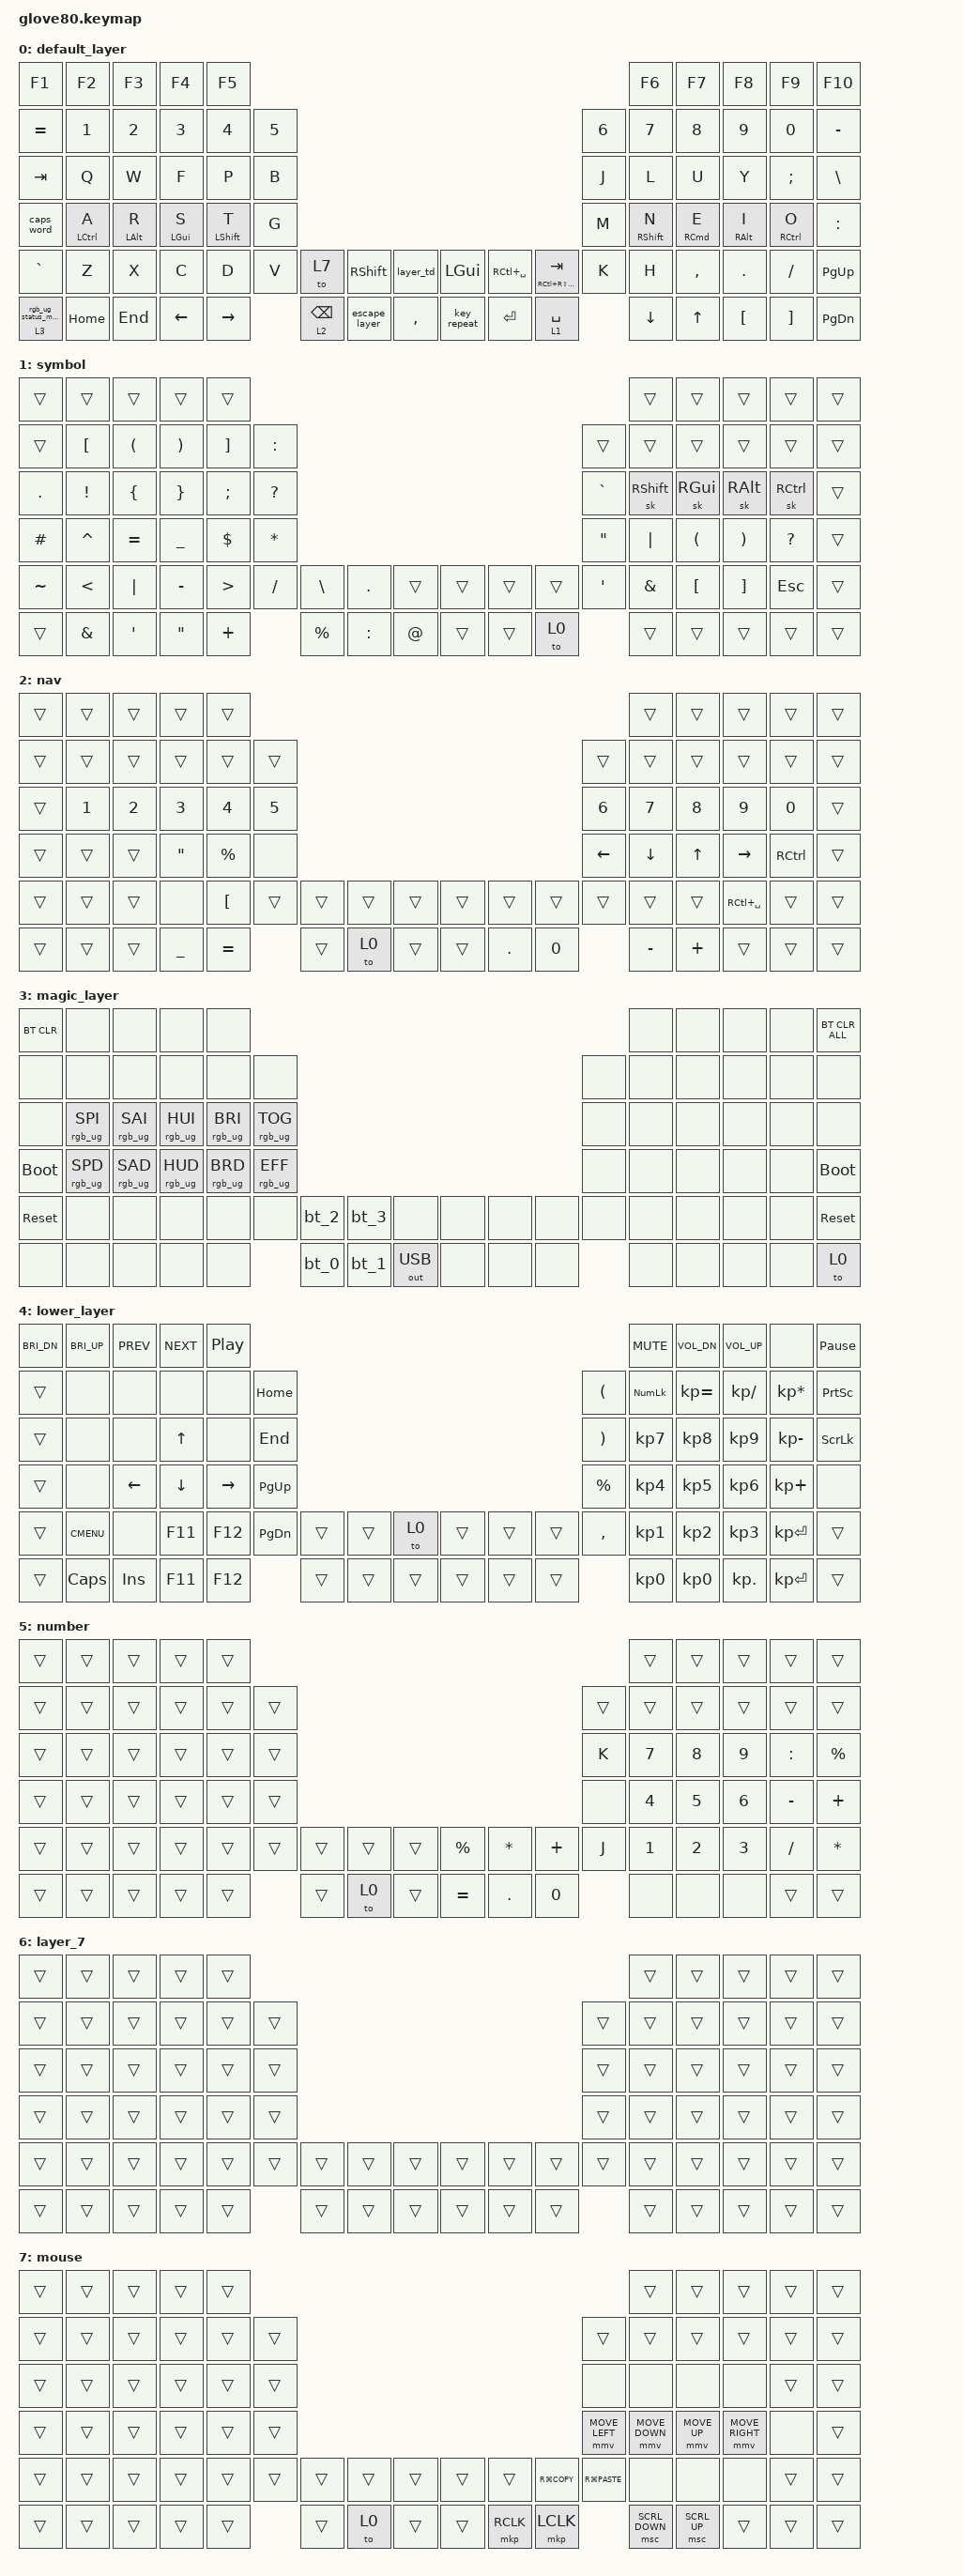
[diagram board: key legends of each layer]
/*
 * Copyright (c) 2020 The ZMK Contributors
 *
 * SPDX-License-Identifier: MIT
 */

#include <behaviors.dtsi>
#include <dt-bindings/zmk/bt.h>
#include <dt-bindings/zmk/keys.h>
#include <dt-bindings/zmk/outputs.h>
#include <dt-bindings/zmk/pointing.h>
#include <dt-bindings/zmk/rgb.h>

#define ZMK_POINTING_DEFAULT_MOVE_VAL 1500
#define ZMK_POINTING_DEFAULT_SCRL_VAL 20
#define HYPER LC(LS(LG(LALT)))

// layers

#define DEFAULT 0
#define LOWER 1
#define MAGIC 2
#define FACTORY_TEST 3

/ {
    behaviors {
        // For the "layer" key, it'd nice to be able to use it as either a shift or a toggle.
        // Configure it as a tap dance, so the first tap (or hold) is a &mo and the second tap is a &to

        layer_td: tap_dance_0 {
            compatible = "zmk,behavior-tap-dance";
            label = "LAYER_TAP_DANCE";
            #binding-cells = <0>;
            tapping-term-ms = <200>;
            bindings = <&mo 4>, <&to 4>;
        };

        magic: magic_hold_tap {
            compatible = "zmk,behavior-hold-tap";
            label = "MAGIC_HOLD_TAP";
            #binding-cells = <2>;
            flavor = "tap-preferred";
            tapping-term-ms = <200>;
            bindings = <&mo>, <&rgb_ug_status_macro>;
        };

        hrm_l: hrm_l {
            compatible = "zmk,behavior-hold-tap";
            label = "HRM_L";
            bindings = <&kp>, <&kp>;

            #binding-cells = <2>;
            tapping-term-ms = <200>;
            quick-tap-ms = <175>;
            flavor = "tap-preferred";
            hold-trigger-on-release;
            hold-trigger-key-positions = <53 52 69 71 70 54 55 56 57 74 73 72 5 6 7 8 9 16 17 18 19 20 21 28 29 30 31 32 33 40 41 42 43 44 45 58 59 60 61 62 63 75 76 77 78 79>;
        };

        hrm_r: hrm_r {
            compatible = "zmk,behavior-hold-tap";
            label = "HRM_R";
            bindings = <&kp>, <&kp>;

            #binding-cells = <2>;
            tapping-term-ms = <200>;
            quick-tap-ms = <175>;
            flavor = "tap-preferred";
            hold-trigger-on-release;
            hold-trigger-key-positions = <52 53 68 69 70 71 54 46 47 64 65 66 67 68 0 1 2 3 4 10 11 12 13 14 15 22 23 24 25 26 27 34 35 36 37 38 39 46 47 48 49 50 51 64 65 66 67 68 69>;
        };

        escape_layer: escape_layer {
            compatible = "zmk,behavior-tap-dance";
            label = "ESCAPE_LAYER";
            #binding-cells = <0>;
            bindings = <&kp ESCAPE>, <&tog 5>;

            tapping-term-ms = <200>;
        };
    };

    macros {
        rgb_ug_status_macro: rgb_ug_status_macro_0 {
            label = "RGB_UG_STATUS";
            compatible = "zmk,behavior-macro";
            #binding-cells = <0>;
            bindings = <&rgb_ug RGB_STATUS>;
        };

        bt_0: bt_profile_macro_0 {
            label = "BT_0";
            compatible = "zmk,behavior-macro";
            #binding-cells = <0>;
            bindings = <&out OUT_BLE &bt BT_SEL 0>;
        };

        bt_1: bt_profile_macro_1 {
            label = "BT_1";
            compatible = "zmk,behavior-macro";
            #binding-cells = <0>;
            bindings = <&out OUT_BLE &bt BT_SEL 1>;
        };

        bt_2: bt_profile_macro_2 {
            label = "BT_2";
            compatible = "zmk,behavior-macro";
            #binding-cells = <0>;
            bindings = <&out OUT_BLE &bt BT_SEL 2>;
        };

        bt_3: bt_profile_macro_3 {
            label = "BT_3";
            compatible = "zmk,behavior-macro";
            #binding-cells = <0>;
            bindings = <&out OUT_BLE &bt BT_SEL 3>;
        };

        hyper: hyper {
            compatible = "zmk,behavior-macro";
            #binding-cells = <0>;
            bindings = <&kp RC(RS(RA(RGUI)))>;
            label = "HYPER";
        };
    };

    combos {
        compatible = "zmk,combos";

        l_bracket {
            bindings = <&kp LEFT_BRACKET>;
            key-positions = <29 30>;
        };

        r_bracket {
            bindings = <&kp RIGHT_BRACKET>;
            key-positions = <30 31>;
        };
    };

    keymap {
        compatible = "zmk,keymap";

        default_layer {
            // ---------------------------------------------------------------------------------------------------------------------------------
            // |  F1   |  F2 |  F3 |  F4  |  F5  |                                                               |  F6   |  F7   |  F8  |   F9  |  F10 |
            // |  =    |  1  |  2  |  3   |  4   |  5   |                                                 |  6   |   7   |   8   |  9   |   0   |   -  |
            // |  TAB  |  Q  |  W  |  E   |  R   |  T   |                                                 |  Y   |   U   |   I   |  O   |   P   |   \  |
            // |  ESC  |  A  |  S  |  D   |  F   |  G   |                                                 |  H   |   J   |   K   |  L   |   ;   |   '  |
            // |   `   |  Z  |  X  |  C   |  V   |  B   | LSHFT | LCTRL | LOWER | | LGUI  | RCTRL | RSHFT |  N   |   M   |   ,   |  .   |   /   | PGUP |
            // | MAGIC | HOME| END | LEFT | RIGHT|      | BSPC  | DEL   | LALT  | | RALT  | RET   | SPACE |      |  UP   | DOWN  |  [   |   ]   | PGDN |

            bindings = <
&kp F1      &kp F2          &kp F3         &kp F4         &kp F5                                                                                                                                &kp F6           &kp F7         &kp F8         &kp F9          &kp F10
&kp EQUAL   &kp N1          &kp N2         &kp N3         &kp N4          &kp N5                                                                                                        &kp N6  &kp N7           &kp N8         &kp N9         &kp N0          &kp MINUS
&kp TAB     &kp Q           &kp W          &kp F          &kp P           &kp B                                                                                                         &kp J   &kp L            &kp U          &kp Y          &kp SEMICOLON   &kp BSLH
&caps_word  &hrm_l LCTRL A  &hrm_l LALT R  &hrm_l LGUI S  &hrm_l LSHFT T  &kp G                                                                                                         &kp M   &hrm_r RSHIFT N  &hrm_r RCMD E  &hrm_r RALT I  &hrm_r RCTRL O  &kp COLON
&kp GRAVE   &kp Z           &kp X          &kp C          &kp D           &kp V   &to 7            &kp RSHFT      &layer_td  &kp LGUI     &kp RC(SPACE)  &mt RC(RS(RA(RIGHT_GUI))) TAB  &kp K   &kp H            &kp COMMA      &kp DOT        &kp FSLH        &kp PG_UP
&magic 3 0  &kp HOME        &kp END        &kp LEFT       &kp RIGHT               &lt 2 BACKSPACE  &escape_layer  &kp COMMA  &key_repeat  &kp RET        &lt 1 SPACE                            &kp DOWN_ARROW   &kp UP_ARROW   &kp LBKT       &kp RBKT        &kp PG_DN
            >;
        };

        symbol {
            bindings = <
&trans      &trans            &trans                &trans                 &trans                                                                                                             &trans         &trans                &trans                 &trans      &trans
&trans      &kp LEFT_BRACKET  &kp LEFT_PARENTHESIS  &kp RIGHT_PARENTHESIS  &kp RIGHT_BRACKET  &kp COLON                                                                    &trans             &trans         &trans                &trans                 &trans      &trans
&kp PERIOD  &kp EXCLAMATION   &kp LEFT_BRACE        &kp RIGHT_BRACE        &kp SEMICOLON      &kp QUESTION                                                                 &kp GRAVE          &sk RSHFT      &sk RIGHT_GUI         &sk RIGHT_ALT          &sk RCTRL   &trans
&kp HASH    &kp CARET         &kp EQUAL             &kp UNDERSCORE         &kp DOLLAR         &kp ASTERISK                                                                 &kp DOUBLE_QUOTES  &kp PIPE       &kp LEFT_PARENTHESIS  &kp RIGHT_PARENTHESIS  &kp QMARK   &trans
&kp TILDE   &kp LESS_THAN     &kp PIPE              &kp MINUS              &kp GREATER_THAN   &kp SLASH     &kp BACKSLASH  &kp DOT    &trans       &trans  &trans  &trans  &kp SINGLE_QUOTE   &kp AMPERSAND  &kp LEFT_BRACKET      &kp RIGHT_BRACKET      &kp ESCAPE  &trans
&trans      &kp AMPERSAND     &kp SINGLE_QUOTE      &kp DOUBLE_QUOTES      &kp PLUS                         &kp PERCENT    &kp COLON  &kp AT_SIGN  &trans  &trans  &to 0                      &trans         &trans                &trans                 &trans      &trans
            >;
        };

        nav {
            bindings = <
&trans  &trans        &trans        &trans             &trans                                                                                               &trans        &trans        &trans         &trans        &trans
&trans  &trans        &trans        &trans             &trans            &trans                                                               &trans        &trans        &trans        &trans         &trans        &trans
&trans  &kp NUMBER_1  &kp NUMBER_2  &kp NUMBER_3       &kp NUMBER_4      &kp NUMBER_5                                                         &kp NUMBER_6  &kp NUMBER_7  &kp NUMBER_8  &kp NUMBER_9   &kp NUMBER_0  &trans
&trans  &trans        &trans        &kp DOUBLE_QUOTES  &kp PERCENT       &none                                                                &kp LEFT      &kp DOWN      &kp UP        &kp RIGHT      &kp RCTRL     &trans
&trans  &trans        &trans        &none              &kp LEFT_BRACKET  &trans        &trans  &trans  &trans  &trans  &trans   &trans        &trans        &trans        &trans        &kp RC(SPACE)  &trans        &trans
&trans  &trans        &trans        &kp UNDERSCORE     &kp EQUAL                       &trans  &to 0   &trans  &trans  &kp DOT  &kp NUMBER_0                &kp MINUS     &kp PLUS      &trans         &trans        &trans
            >;
        };

        magic_layer {
            bindings = <
&bt BT_CLR   &none            &none            &none            &none                                                                                     &none  &none  &none  &none  &bt BT_CLR_ALL
&none        &none            &none            &none            &none            &none                                                             &none  &none  &none  &none  &none  &none
&none        &rgb_ug RGB_SPI  &rgb_ug RGB_SAI  &rgb_ug RGB_HUI  &rgb_ug RGB_BRI  &rgb_ug RGB_TOG                                                   &none  &none  &none  &none  &none  &none
&bootloader  &rgb_ug RGB_SPD  &rgb_ug RGB_SAD  &rgb_ug RGB_HUD  &rgb_ug RGB_BRD  &rgb_ug RGB_EFF                                                   &none  &none  &none  &none  &none  &bootloader
&sys_reset   &none            &none            &none            &none            &none            &bt_2  &bt_3  &none         &none  &none  &none  &none  &none  &none  &none  &none  &sys_reset
&none        &none            &none            &none            &none                             &bt_0  &bt_1  &out OUT_USB  &none  &none  &none         &none  &none  &none  &none  &to 0
            >;
        };

        lower_layer {
            bindings = <
&kp C_BRI_DN  &kp C_BRI_UP  &kp C_PREV  &kp C_NEXT  &kp C_PP                                                                         &kp C_MUTE  &kp C_VOL_DN  &kp C_VOL_UP   &none            &kp PAUSE_BREAK
&trans        &none         &none       &none       &none      &kp HOME                                                   &kp LPAR   &kp KP_NUM  &kp KP_EQUAL  &kp KP_DIVIDE  &kp KP_MULTIPLY  &kp PSCRN
&trans        &none         &none       &kp UP      &none      &kp END                                                    &kp RPAR   &kp KP_N7   &kp KP_N8     &kp KP_N9      &kp KP_MINUS     &kp SLCK
&trans        &none         &kp LEFT    &kp DOWN    &kp RIGHT  &kp PG_UP                                                  &kp PRCNT  &kp KP_N4   &kp KP_N5     &kp KP_N6      &kp KP_PLUS      &none
&trans        &kp K_CMENU   &none       &kp F11     &kp F12    &kp PG_DN  &trans  &trans  &to 0   &trans  &trans  &trans  &kp COMMA  &kp KP_N1   &kp KP_N2     &kp KP_N3      &kp KP_ENTER     &trans
&trans        &kp CAPS      &kp INS     &kp F11     &kp F12               &trans  &trans  &trans  &trans  &trans  &trans             &kp KP_N0   &kp KP_N0     &kp KP_DOT     &kp KP_ENTER     &trans
            >;
        };

        number {
            bindings = <
&trans  &trans  &trans  &trans  &trans                                                                               &trans        &trans        &trans        &trans     &trans
&trans  &trans  &trans  &trans  &trans  &trans                                                               &trans  &trans        &trans        &trans        &trans     &trans
&trans  &trans  &trans  &trans  &trans  &trans                                                               &kp K   &kp NUMBER_7  &kp NUMBER_8  &kp NUMBER_9  &kp COLON  &kp PERCENT
&trans  &trans  &trans  &trans  &trans  &trans                                                               &none   &kp NUMBER_4  &kp NUMBER_5  &kp NUMBER_6  &kp MINUS  &kp PLUS
&trans  &trans  &trans  &trans  &trans  &trans  &trans  &trans  &trans  &kp PERCENT  &kp ASTERISK  &kp PLUS  &kp J   &kp NUMBER_1  &kp NUMBER_2  &kp NUMBER_3  &kp SLASH  &kp ASTERISK
&trans  &trans  &trans  &trans  &trans          &trans  &to 0   &trans  &kp EQUAL    &kp PERIOD    &kp N0            &none         &none         &none         &trans     &trans
            >;
        };

        layer_7 {
            bindings = <
&trans  &trans  &trans  &trans  &trans                                                                  &trans  &trans  &trans  &trans  &trans
&trans  &trans  &trans  &trans  &trans  &trans                                                  &trans  &trans  &trans  &trans  &trans  &trans
&trans  &trans  &trans  &trans  &trans  &trans                                                  &trans  &trans  &trans  &trans  &trans  &trans
&trans  &trans  &trans  &trans  &trans  &trans                                                  &trans  &trans  &trans  &trans  &trans  &trans
&trans  &trans  &trans  &trans  &trans  &trans  &trans  &trans  &trans  &trans  &trans  &trans  &trans  &trans  &trans  &trans  &trans  &trans
&trans  &trans  &trans  &trans  &trans          &trans  &trans  &trans  &trans  &trans  &trans          &trans  &trans  &trans  &trans  &trans
            >;
        };

        mouse {
            bindings = <
&trans  &trans  &trans  &trans  &trans                                                                                      &trans          &trans        &trans           &trans  &trans
&trans  &trans  &trans  &trans  &trans  &trans                                                             &trans           &trans          &trans        &trans           &trans  &trans
&trans  &trans  &trans  &trans  &trans  &trans                                                             &none            &none           &none         &none            &trans  &trans
&trans  &trans  &trans  &trans  &trans  &trans                                                             &mmv MOVE_LEFT   &mmv MOVE_DOWN  &mmv MOVE_UP  &mmv MOVE_RIGHT  &none   &trans
&trans  &trans  &trans  &trans  &trans  &trans  &trans  &trans  &trans  &trans  &trans     &kp RG(K_COPY)  &kp RG(K_PASTE)  &none           &none         &none            &trans  &trans
&trans  &trans  &trans  &trans  &trans          &trans  &to 0   &trans  &trans  &mkp RCLK  &mkp LCLK                        &msc SCRL_DOWN  &msc SCRL_UP  &trans           &trans  &trans
            >;
        };
    };
};
